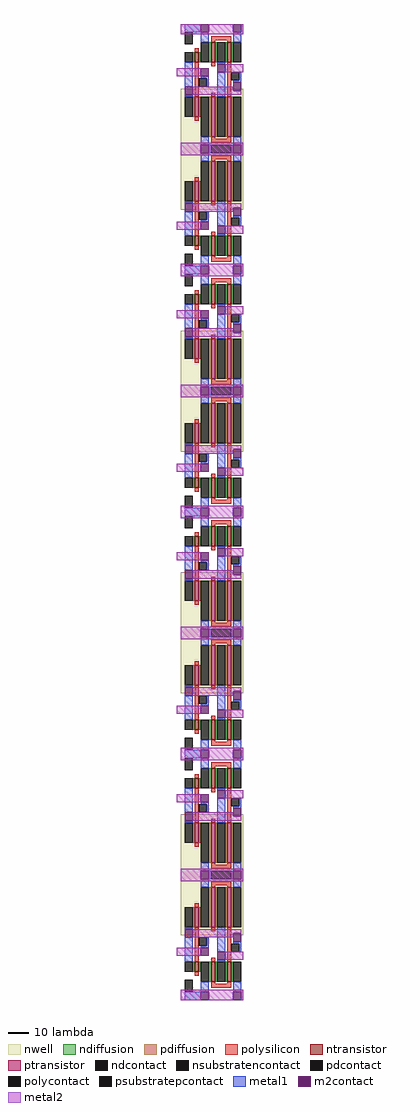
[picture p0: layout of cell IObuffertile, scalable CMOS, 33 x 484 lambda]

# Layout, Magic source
magic
tech scmos
use IObuffer IObuffer_7
transform 1 0 110 0 -1 466
box -75 -44 -42 20
use IObuffer IObuffer_6
transform 1 0 110 0 1 430
box -75 -44 -42 20
use IObuffer IObuffer_5
transform 1 0 110 0 -1 346
box -75 -44 -42 20
use IObuffer IObuffer_4
transform 1 0 110 0 1 310
box -75 -44 -42 20
use IObuffer IObuffer_3
transform 1 0 110 0 -1 226
box -75 -44 -42 20
use IObuffer IObuffer_2
transform 1 0 110 0 1 190
box -75 -44 -42 20
use IObuffer IObuffer_1
transform 1 0 110 0 -1 106
box -75 -44 -42 20
use IObuffer IObuffer_0
transform 1 0 110 0 1 70
box -75 -44 -42 20
<< end >>

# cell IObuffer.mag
magic
tech scmos
<< nwell >>
rect -73 -12 -42 20
<< polysilicon >>
rect -58 13 -48 15
rect -58 12 -56 13
rect -50 12 -48 13
rect -66 2 -64 4
rect -66 -25 -64 -8
rect -58 -10 -56 -8
rect -58 -25 -56 -23
rect -50 -25 -48 -8
rect -66 -32 -64 -30
rect -58 -36 -56 -35
rect -50 -36 -48 -35
rect -58 -38 -48 -36
<< ndiffusion >>
rect -67 -30 -66 -25
rect -64 -30 -63 -25
rect -59 -35 -58 -25
rect -56 -35 -55 -25
rect -51 -35 -50 -25
rect -48 -35 -47 -25
<< pdiffusion >>
rect -67 -8 -66 2
rect -64 -8 -63 2
rect -59 -8 -58 12
rect -56 -8 -55 12
rect -51 -8 -50 12
rect -48 -8 -47 12
<< metal1 >>
rect -59 16 -58 20
rect -48 16 -47 20
rect -63 12 -59 16
rect -47 12 -43 16
rect -71 -9 -67 -8
rect -71 -25 -67 -13
rect -60 -17 -59 -13
rect -63 -18 -59 -17
rect -55 -20 -51 -8
rect -47 -16 -43 -15
rect -44 -20 -43 -16
rect -55 -25 -51 -24
rect -63 -40 -59 -35
rect -71 -44 -63 -40
rect -47 -40 -43 -35
<< metal2 >>
rect -73 16 -63 20
rect -59 16 -47 20
rect -43 16 -42 20
rect -73 15 -42 16
rect -67 -11 -43 -9
rect -67 -13 -47 -11
rect -75 -22 -63 -18
rect -51 -24 -42 -20
rect -73 -40 -42 -39
rect -73 -44 -63 -40
rect -59 -44 -47 -40
rect -43 -44 -42 -40
<< ntransistor >>
rect -66 -30 -64 -25
rect -58 -35 -56 -25
rect -50 -35 -48 -25
<< ptransistor >>
rect -66 -8 -64 2
rect -58 -8 -56 12
rect -50 -8 -48 12
<< polycontact >>
rect -64 -17 -60 -13
rect -48 -20 -44 -16
<< ndcontact >>
rect -71 -30 -67 -25
rect -63 -35 -59 -25
rect -55 -35 -51 -25
rect -47 -35 -43 -25
<< pdcontact >>
rect -71 -8 -67 2
rect -63 -8 -59 12
rect -55 -8 -51 12
rect -47 -8 -43 12
<< m2contact >>
rect -63 16 -59 20
rect -47 16 -43 20
rect -71 -13 -67 -9
rect -63 -22 -59 -18
rect -47 -15 -43 -11
rect -55 -24 -51 -20
rect -63 -44 -59 -40
rect -47 -44 -43 -40
<< psubstratepcontact >>
rect -71 -40 -67 -34
<< nsubstratencontact >>
rect -58 16 -48 20
<< labels >>
rlabel metal2 -55 -42 -55 -42 2 Gnd
rlabel metal2 -69 18 -69 18 8 Vdd
rlabel metal2 -72 -20 -72 -20 7 input
rlabel metal2 -43 -22 -43 -22 3 output
<< end >>
